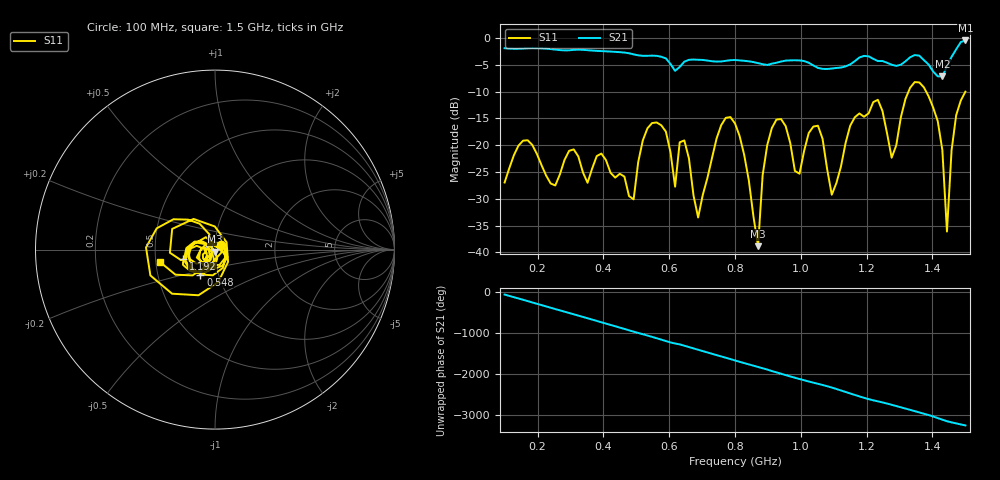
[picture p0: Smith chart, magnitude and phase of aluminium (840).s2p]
! NanoVNA-App
! Date: 2025-09-25 15:01:49
! Start: 100MHz Stop: 1,5GHz Points: 101
! S-Parameter data: F S11 S21 S12 S22
# Hz S RI R 50
!  Frequency  S11_Real  S11_Imag  S21_Real  S21_Imag  S12_Real  S12_Imag  S22_Real  S22_Imag
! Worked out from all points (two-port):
!   101 points, 100 MHz to 1.5 GHz, reference 50 ohm
!   highest |S21| = -0.47 dB at 1.5 GHz (marker M1); lowest = -7.2 dB at 1.43 GHz (marker M2)
!   |S21| within 3 dB of the highest: start of sweep to 572.6 MHz; 1.459 GHz to end of sweep (the widest 2 of 4)
!   lowest |S11| = -38.8 dB at 870 MHz (marker M3), VSWR 1.02, Z = 50 - j1.14 ohm
!   |S11| at or under -10 dB: start of sweep to 1.327 GHz; 1.381 GHz to end of sweep
!   S12 and S22 are empty: the file has one direction only
!   S11 on the Smith chart (normalised r, x): 100 MHz: 1.07, +0.06; 548 MHz: 0.82, -0.23; 1.192 GHz: 0.70, -0.08; 1.5 GHz: 0.52, -0.08
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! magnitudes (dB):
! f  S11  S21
! 100 MHz  -27.0  -1.9
! 156 MHz  -19.2  -2.0
! 338 MHz  -25.1  -2.2
! 492 MHz  -30.1  -3.1
! 548 MHz  -15.9  -3.3
! 576 MHz  -16.3  -3.5
! 618 MHz  -27.7  -6.1
! 646 MHz  -19.1  -4.4
! 688 MHz  -33.5  -4.1
! 800 MHz  -15.9  -4.1
! 870 MHz  -38.8  -4.7
! 912 MHz  -16.8  -4.8
! 996 MHz  -25.3  -4.2
! 1.038 GHz  -16.5  -5.1
! 1.094 GHz  -29.2  -5.7
! 1.192 GHz  -14.7  -3.4
! 1.276 GHz  -22.3  -5.0
! 1.346 GHz  -8.2  -3.2
! 1.43 GHz  -20.9  -7.2
! 1.444 GHz  -36.1  -5.3
! 1.472 GHz  -14.4  -2.1
! 1.5 GHz  -10.0  -0.5
